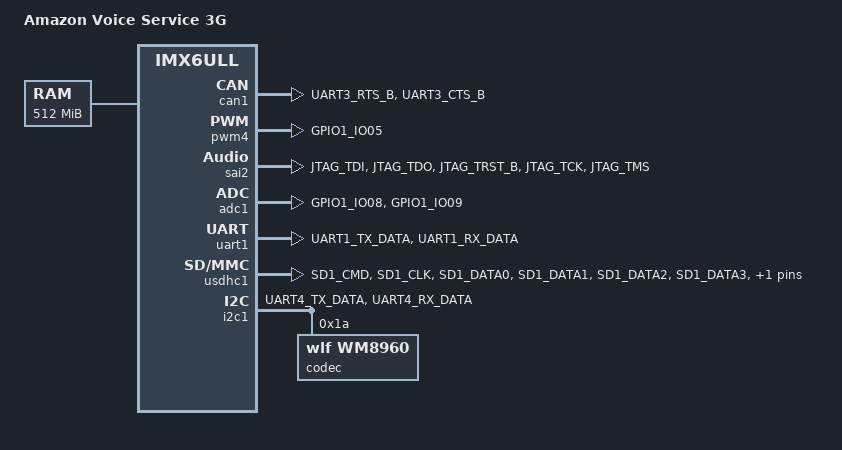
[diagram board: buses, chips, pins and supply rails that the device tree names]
/*
 * Copyright (C) 2016 Freescale Semiconductor, Inc.
 *
 * This program is free software; you can redistribute it and/or modify
 * it under the terms of the GNU General Public License version 2 as
 * published by the Free Software Foundation.
 */

/dts-v1/;

#include <dt-bindings/input/input.h>
#include "imx6ull.dtsi"

/ {
	model = "Amazon Voice Service 3G";
	compatible = "wirelessroad,gw-imx6ull", "fsl,imx6ull";

	chosen {
		stdout-path = &uart1;
		bootargs = "console=ttymxc0,115200 rootwait fixrtc quiet";
	};

	memory {
		reg = <0x80000000 0x20000000>;
	};

	aliases {
		cpu0 = &cpu0;
		can1 = &can1;
		can2 = &can2;
		clks = &clks;
		fec1 = &fec1;
		fec2 = &fec2;
		ecspi3 = &ecspi3;
		gpc = &gpc;
		gpmi = &gpmi;
		iomuxc = &iomuxc;
		pwm4 = &pwm4;
		adc1 = &adc1;
		usbotg1 = &usbotg1;
		usbotg2 = &usbotg2;
		usdhc1 = &usdhc1;
		wdog1 = &wdog1;
	};
	
	soc {
		aips3: aips-bus@02200000 {
			compatible = "fsl,aips-bus", "simple-bus";
			#address-cells = <1>;
			#size-cells = <1>;
			reg = <0x02200000 0x100000>;
			ranges;

			dcp: dcp@02280000 {
				compatible = "fsl,imx6sl-dcp";
				reg = <0x02280000 0x4000>;
				interrupts = <GIC_SPI 46 IRQ_TYPE_LEVEL_HIGH>,
					     <GIC_SPI 47 IRQ_TYPE_LEVEL_HIGH>,
					     <GIC_SPI 48 IRQ_TYPE_LEVEL_HIGH>;
				clocks = <&clks IMX6ULL_CLK_DCP_CLK>;
				clock-names = "dcp";
			};

			rngb: rngb@02284000 {
				compatible = "fsl,imx6sl-rng", "fsl,imx-rng", "imx-rng";
				reg = <0x02284000 0x4000>;
				interrupts = <GIC_SPI 6 IRQ_TYPE_LEVEL_HIGH>;
				clocks =  <&clks IMX6UL_CLK_DUMMY>;
			};

			iomuxc_snvs: iomuxc-snvs@02290000 {
				compatible = "fsl,imx6ull-iomuxc-snvs";
				reg = <0x02290000 0x10000>;
				pinctrl-names = "default_snvs";
			};

		};
	};

	sound {
		compatible = "simple-audio-card";
		simple-audio-card,name = "mx6ul-wm8960";
		simple-audio-card,format = "i2s";
		simple-audio-card,bitclock-master = <&dailink_master>;
		simple-audio-card,frame-master = <&dailink_master>;
		simple-audio-card,widgets =
			"Microphone", "Mic Jack",
			"Line", "Line In",
			"Line", "Line Out",
			"Speaker", "Speaker",
			"Headphone", "Headphone Jack";
		simple-audio-card,routing =
			"Headphone Jack", "HP_L",
			"Headphone Jack", "HP_R",
			"Speaker", "SPK_LP",
			"Speaker", "SPK_LN",
			"Speaker", "SPK_RP",
			"Speaker", "SPK_RN",
			"LINPUT1", "Mic Jack",
			"LINPUT2", "Mic Jack",
			"RINPUT2", "Line In";

		simple-audio-card,cpu {
			sound-dai = <&sai2>;
		};

		dailink_master: simple-audio-card,codec {
			sound-dai = <&codec>;
			clocks = <&clks IMX6UL_CLK_SAI2>;
		};
	};
};

#include "wr_cpu.dtsi"
#include "wr_partitions.dtsi"
#include "wr_ethernet.dtsi"
#include "wr_usb.dtsi"
#include "wr_watchdog.dtsi"


&clks {
	assigned-clocks = <&clks IMX6UL_CLK_PLL4_AUDIO_DIV>;
	assigned-clock-rates = <786432000>;
};

&can1 {
	pinctrl-names = "default";
	pinctrl-0 = <&pinctrl_flexcan0>;
	status = "okay";
};


&gpc {
	fsl,cpu_pupscr_sw2iso = <0x1>;
	fsl,cpu_pupscr_sw = <0x0>;
	fsl,cpu_pdnscr_iso2sw = <0x1>;
	fsl,cpu_pdnscr_iso = <0x1>;
	fsl,ldo-bypass = <0>; /* DCDC, ldo-enable */
};

&iomuxc {
	pinctrl-names = "default";
	pinctrl-0 = <&pinctrl_hog_1>;
	imx6ul-evk {
		pinctrl_hog_1: hoggrp-1 {
			fsl,pins = <
				MX6UL_PAD_UART1_RTS_B__GPIO1_IO19	0x17059 /* SD1 CD */
			>;
		};

		pinctrl_adc1: adc1grp {
			fsl,pins = <
				MX6UL_PAD_GPIO1_IO08__GPIO1_IO08        0xb0
				MX6UL_PAD_GPIO1_IO09__GPIO1_IO09        0xb0
			>;
		};
		
		pinctrl_ecspi3_0: ecspi3grp-0 {
			fsl,pins = <
				MX6UL_PAD_UART2_CTS_B__ECSPI3_MOSI	0x110b1
				MX6UL_PAD_UART2_RTS_B__ECSPI3_MISO	0x110b1
				MX6UL_PAD_UART2_RX_DATA__ECSPI3_SCLK	0x110b1
				MX6UL_PAD_UART2_TX_DATA__GPIO1_IO20	0x10b0
			>;
		};

		pinctrl_i2c1: i2c1grp {
			fsl,pins = <
				MX6UL_PAD_UART4_TX_DATA__I2C1_SCL	0x4001b8b0
				MX6UL_PAD_UART4_RX_DATA__I2C1_SDA	0x4001b8b0
			>;
		};

		pinctrl_usb_otg1_id: usbotg1idgrp {
			fsl,pins = <
				MX6UL_PAD_GPIO1_IO00__ANATOP_OTG1_ID	0x17059
			>;
		};
		
		pinctrl_enet1: enet1grp {
			fsl,pins = <
				MX6UL_PAD_GPIO1_IO07__ENET1_MDC         0x1b0b0
				MX6UL_PAD_GPIO1_IO06__ENET1_MDIO	0x1b0b0
				MX6UL_PAD_ENET1_RX_EN__ENET1_RX_EN	0x1b0b0
				MX6UL_PAD_ENET1_RX_ER__ENET1_RX_ER	0x1b0b0
				MX6UL_PAD_ENET1_RX_DATA0__ENET1_RDATA00	0x1b0b0
				MX6UL_PAD_ENET1_RX_DATA1__ENET1_RDATA01	0x1b0b0
				MX6UL_PAD_ENET1_TX_EN__ENET1_TX_EN	0x1b0b0
				MX6UL_PAD_ENET1_TX_DATA0__ENET1_TDATA00	0x1b0b0
				MX6UL_PAD_ENET1_TX_DATA1__ENET1_TDATA01	0x1b0b0
				MX6UL_PAD_ENET1_TX_CLK__ENET1_REF_CLK1	0x4001b031
			>;
		};

                pinctrl_enet2: enet2grp {
                        fsl,pins = <
                                MX6UL_PAD_ENET2_RX_EN__ENET2_RX_EN      0x1b0b0
                                MX6UL_PAD_ENET2_RX_ER__ENET2_RX_ER      0x1b0b0
                                MX6UL_PAD_ENET2_RX_DATA0__ENET2_RDATA00 0x1b0b0
                                MX6UL_PAD_ENET2_RX_DATA1__ENET2_RDATA01 0x1b0b0
                                MX6UL_PAD_ENET2_TX_EN__ENET2_TX_EN      0x1b0b0
                                MX6UL_PAD_ENET2_TX_DATA0__ENET2_TDATA00 0x1b0b0
                                MX6UL_PAD_ENET2_TX_DATA1__ENET2_TDATA01 0x1b0b0
                                MX6UL_PAD_ENET2_TX_CLK__ENET2_REF_CLK2  0x4001b031
                        >;
                };

		pinctrl_flexcan0: flexcan0grp{
			fsl,pins = <
				MX6UL_PAD_UART3_RTS_B__FLEXCAN1_RX	0x1b020
				MX6UL_PAD_UART3_CTS_B__FLEXCAN1_TX	0x1b020
			>;
		};

		pinctrl_pwm4: pwm4grp {
			fsl,pins = <
				MX6UL_PAD_GPIO1_IO05__PWM4_OUT   0x110b0
			>;
		};


		pinctrl_uart1: uart1grp {
			fsl,pins = <
				MX6UL_PAD_UART1_TX_DATA__UART1_DCE_TX 0x1b0b1
				MX6UL_PAD_UART1_RX_DATA__UART1_DCE_RX 0x1b0b1
			>;
		};

		pinctrl_usdhc1: usdhc1grp {
			fsl,pins = <
			MX6UL_PAD_SD1_CMD__USDHC1_CMD     0x170b9
			MX6UL_PAD_SD1_CLK__USDHC1_CLK     0x100b9
			MX6UL_PAD_SD1_DATA0__USDHC1_DATA0 0x170b9
			MX6UL_PAD_SD1_DATA1__USDHC1_DATA1 0x170b9
			MX6UL_PAD_SD1_DATA2__USDHC1_DATA2 0x170b9
			MX6UL_PAD_SD1_DATA3__USDHC1_DATA3 0x170b9

			>;
		};
		
		pinctrl_wdog: wdoggrp {
			fsl,pins = <
				MX6UL_PAD_LCD_RESET__WDOG1_WDOG_ANY    0x30b0
			>;
		};

		pinctrl_sai2: sai2grp {
			fsl,pins = <
				MX6UL_PAD_JTAG_TDI__SAI2_TX_BCLK    0x17088
				MX6UL_PAD_JTAG_TDO__SAI2_TX_SYNC    0x17088
				MX6UL_PAD_JTAG_TRST_B__SAI2_TX_DATA 0x11088
				MX6UL_PAD_JTAG_TCK__SAI2_RX_DATA    0x11088
				MX6UL_PAD_JTAG_TMS__SAI2_MCLK       0x17088
			>;
		};

	};
};

&pwm4 {
	pinctrl-names = "default";
	pinctrl-0 = <&pinctrl_pwm4>;
	status = "okay";
};


&sai2 {
	pinctrl-names = "default";
	pinctrl-0 = <&pinctrl_sai2>;

	assigned-clocks = <&clks IMX6UL_CLK_SAI2_SEL>,
			  <&clks IMX6UL_CLK_SAI2>;
	assigned-clock-parents = <&clks IMX6UL_CLK_PLL4_AUDIO_DIV>;
	assigned-clock-rates = <0>, <24000000>;

	status = "okay";
};

&adc1 {
	pinctrl-names = "default";
	pinctrl-0 = <&pinctrl_adc1>;
/*	vref-supply = <&reg_vref_3v3>; */
	status = "okay";
};

&uart1 {
	pinctrl-names = "default";
	pinctrl-0 = <&pinctrl_uart1>;
	status = "okay";
};

&usdhc1 {
	pinctrl-names = "default";
	pinctrl-0 = <&pinctrl_usdhc1>;
	cd-gpios = <&gpio1 19 GPIO_ACTIVE_LOW>;
	keep-power-in-suspend;
	wakeup-source;
	status = "okay";
};

&i2c1 {
	clock_frequency = <100000>;
	pinctrl-names = "default";
	pinctrl-0 = <&pinctrl_i2c1>;
	status = "okay";

	codec: wm8960@1a {
		#sound-dai-cells = <0>;
		compatible = "wlf,wm8960";
		reg = <0x1a>;
		wlf,shared-lrclk;
	};
};
